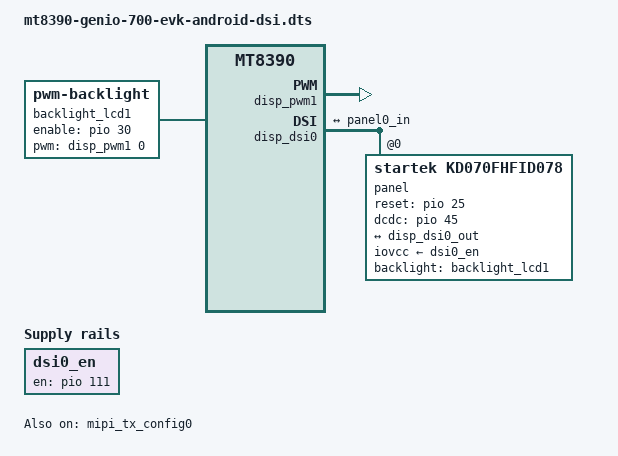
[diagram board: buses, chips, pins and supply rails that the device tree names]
// SPDX-License-Identifier: GPL-2.0
/*
 * Copyright (c) 2025 BayLibre, SAS.
 * Author: Vitor Sato Eschholz <vsatoes@baylibre.com>
 */

/dts-v1/;
/plugin/;

#include <dt-bindings/gpio/gpio.h>
#include <dt-bindings/pinctrl/mediatek,mt8188-pinfunc.h>

#include "mt8390-genio-700-evk-android.dtsi"

&{/} {
	backlight_lcd1: backlight-lcd1 {
		compatible = "pwm-backlight";
		pwms = <&disp_pwm1 0 500000>;
		enable-gpios = <&pio 30 GPIO_ACTIVE_HIGH>;
		brightness-levels = <0 1023>;
		num-interpolated-steps = <1023>;
		default-brightness-level = <576>;
	};

	dsi0_en: dsi0-en {
		compatible = "regulator-fixed";
		regulator-name = "lcm1_en";
		enable-active-high;
		gpio = <&pio 111 GPIO_ACTIVE_HIGH>;
	};
};

&pio {
	disp_pwm1_default_pins: disp-pwm1-default-pins {
		pins1 {
			pinmux = <PINMUX_GPIO30__FUNC_O_DISP_PWM1>;
		};
	};
};

&disp_pwm1 {
	pinctrl-names = "default";
	pinctrl-0 = <&disp_pwm1_default_pins>;
	status = "okay";
};

&mipi_tx_config0 {
	status = "okay";
};

&disp_dsi0 {
	pinctrl-names = "default";
	pinctrl-0 = <&panel_default_pins>;
	#address-cells = <1>;
	#size-cells = <0>;
	poweron-in-hs-mode = <0>;
	status = "okay";

	panel@0 {
		compatible = "startek,kd070fhfid078";
		reg = <0>;
		reset-gpios = <&pio 25 GPIO_ACTIVE_HIGH>;
		dcdc-gpios = <&pio 45 GPIO_ACTIVE_HIGH>;
		backlight = <&backlight_lcd1>;
		iovcc-supply = <&dsi0_en>;
		status = "okay";
		port {
			panel0_in: endpoint {
				remote-endpoint = <&disp_dsi0_out>;
			};
		};
	};

	ports {
		port {
			disp_dsi0_out: endpoint {
				remote-endpoint = <&panel0_in>;
			};
		};
	};
};
